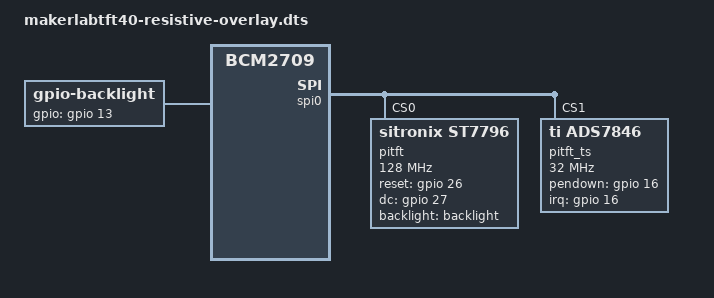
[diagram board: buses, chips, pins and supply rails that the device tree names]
/*
 * Device Tree overlay for MakerLAB TFT 4.0" resistive touch screen
 * Sitronix ST7796S 320RGB x 480 dot 262K Color with Frame Memory Single-Chip TFT Controller/Driver
 */

/dts-v1/;
/plugin/;

/ {
        compatible = "brcm,bcm2835", "brcm,bcm2708", "brcm,bcm2709";

        fragment@0 {
                target = <&spi0>;
                __overlay__ {
                        status = "okay";
                };
        };

      	fragment@1 {
	      	target = <&spidev0>;
      		__overlay__ {
	      		status = "disabled";
      		};
      	};
        
        fragment@2 {
                target = <&gpio>;
                __overlay__ {
                        pitft_pins: pitft_pins {
                                brcm,pins = <16 13 26 27>;
                                brcm,function = <0 1 1 1>; /* in out out out */
                        };
                };
        };

        fragment@3 {
                target = <&spi0>;
                __overlay__ {
                        /* needed to avoid dtc warning */
                        #address-cells = <1>;
                        #size-cells = <0>;

                        pitft: pitft@0{
                                compatible = "sitronix,st7796";
                                pinctrl-names = "default";
                                pinctrl-0 = <&pitft_pins>;

                                reg = <0>;
                                spi-max-frequency = <128000000>;

                                rotation = <0>;
								                reset-gpios = <&gpio 26 0>;
                                dc-gpios = <&gpio 27 0>;
                                backlight = <&backlight>;
                        };
						
            						pitft_ts: pitft-ts@1 {
          			        				compatible = "ti,ads7846";
          			        				reg = <1>;

	                  						spi-max-frequency = <32000000>;
						                  	interrupts = <16 2>; /* high-to-low edge triggered */
          			        				interrupt-parent = <&gpio>;
		                   					pendown-gpio = <&gpio 16 0>;
	                   						ti,x-plate-ohms = /bits/ 16 <60>;
		                  					ti,pressure-max = /bits/ 16 <255>;
		            				};
                };
        };
	
        fragment@4 {
		target-path = "/soc";
		__overlay__ {
			backlight: backlight {
				compatible = "gpio-backlight";
				gpios = <&gpio 13 0>;
			};
		};
	};
        
        __overrides__ {
                speed =   <&pitft>,"spi-max-frequency:0";
                rotation =  <&pitft>,"rotation:0";
                swapxy =	<&pitft_ts>,"ti,swap-xy?";
        };
};
